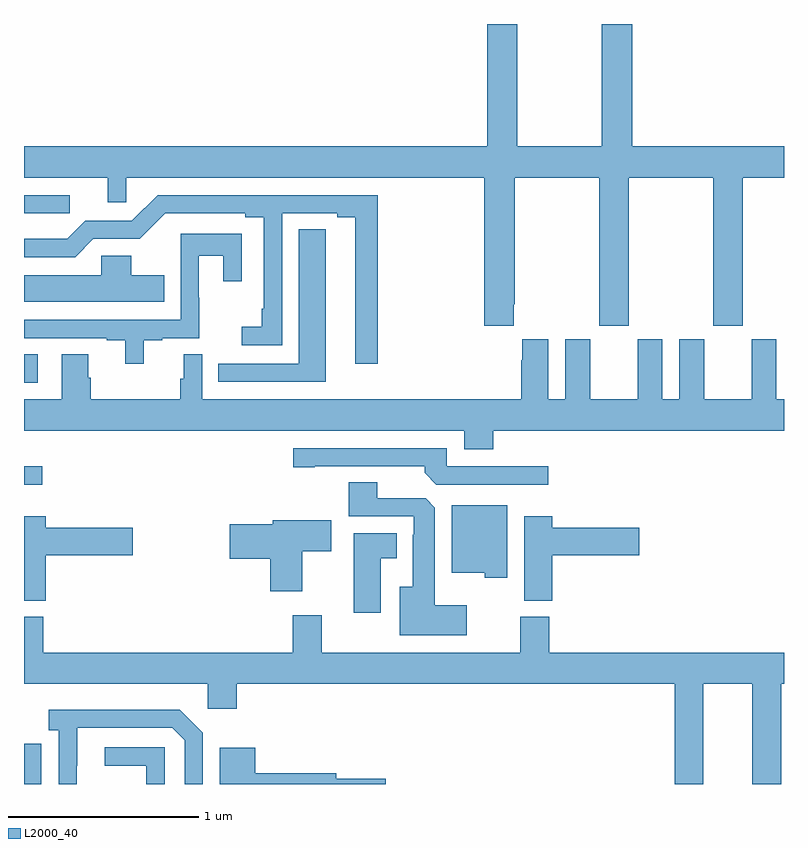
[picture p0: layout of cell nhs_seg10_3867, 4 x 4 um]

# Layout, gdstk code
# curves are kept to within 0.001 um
import gdstk
lib = gdstk.Library(unit=1e-6, precision=1e-09)
def R(c, l, rs):  # rectangles x0, y0, x1, y1
    for r in rs: c.add(gdstk.rectangle(r[:2], r[2:], *l))
def P(c, l, *ps):  # polygons
    for p in ps: c.add(gdstk.Polygon(p, *l))
L2000_40 = (2000, 40)

nhs_seg10_3867 = lib.new_cell('nhs_seg10_3867')
R(nhs_seg10_3867, L2000_40, [(325,1256.076,325.096,1256.172), (325,1256.613,325.072,1256.762)])
P(nhs_seg10_3867, L2000_40, [(327.437,1257.856),(325,1257.856),(325,1257.692),(325.442,1257.692),(325.442,1257.561),(325.538,1257.561),(325.538,1257.692),(327.422,1257.692),(327.422,1256.913),(327.577,1256.913),(327.577,1257.025),(327.582,1257.025),(327.582,1257.692),(328.027,1257.692),(328.027,1256.913),(328.182,1256.913),(328.182,1257.692),(328.627,1257.692),(328.627,1256.913),(328.782,1256.913),(328.782,1257.692),(329,1257.692),(329,1257.856),(328.202,1257.856),(328.202,1258.5),(328.042,1258.5),(328.042,1257.856),(327.597,1257.856),(327.597,1258.5),(327.437,1258.5)],
  [(325.127,1257.505),(325.24,1257.505),(325.24,1257.6),(325,1257.6),(325,1257.503),(325.127,1257.503)],
  [(326.861,1257.6),(325.703,1257.6),(325.568,1257.465),(325.323,1257.465),(325.228,1257.37),(325,1257.37),(325,1257.273),(325.269,1257.273),(325.365,1257.369),(325.609,1257.369),(325.744,1257.504),(326.165,1257.504),(326.165,1257.484),(326.262,1257.484),(326.262,1257.001),(326.25,1257.001),(326.25,1256.907),(326.145,1256.907),(326.145,1256.808),(326.358,1256.808),(326.358,1257.504),(326.648,1257.504),(326.648,1257.484),(326.744,1257.484),(326.744,1256.712),(326.861,1256.712)],
  [(326.587,1257.419),(326.447,1257.419),(326.447,1256.712),(326.023,1256.712),(326.023,1256.616),(326.587,1256.616)],
  [(325.631,1256.835),(325.727,1256.835),(325.727,1256.847),(325.923,1256.847),(325.923,1257.059),(325.92,1257.059),(325.92,1257.28),(326.049,1257.28),(326.049,1257.147),(326.145,1257.147),(326.145,1257.396),(325.824,1257.396),(325.824,1256.943),(325,1256.943),(325,1256.847),(325.436,1256.847),(325.436,1256.835),(325.532,1256.835),(325.532,1256.712),(325.631,1256.712)],
  [(325.739,1257.178),(325.564,1257.178),(325.564,1257.279),(325.407,1257.279),(325.407,1257.178),(325,1257.178),(325,1257.038),(325.739,1257.038)],
  [(329,1256.524),(328.96,1256.524),(328.96,1256.842),(328.829,1256.842),(328.829,1256.524),(328.579,1256.524),(328.579,1256.842),(328.448,1256.842),(328.448,1256.524),(328.36,1256.524),(328.36,1256.842),(328.229,1256.842),(328.229,1256.524),(327.979,1256.524),(327.979,1256.842),(327.848,1256.842),(327.848,1256.524),(327.76,1256.524),(327.76,1256.842),(327.623,1256.842),(327.623,1256.729),(327.617,1256.729),(327.617,1256.524),(325.938,1256.524),(325.938,1256.761),(325.841,1256.761),(325.841,1256.634),(325.822,1256.634),(325.822,1256.524),(325.352,1256.524),(325.352,1256.637),(325.339,1256.637),(325.339,1256.762),(325.199,1256.762),(325.199,1256.524),(325,1256.524),(325,1256.36),(327.317,1256.36),(327.317,1256.261),(327.47,1256.261),(327.47,1256.36),(329,1256.36)],
  [(327.76,1256.172),(327.225,1256.172),(327.225,1256.268),(326.418,1256.268),(326.418,1256.167),(326.53,1256.167),(326.53,1256.172),(327.11,1256.172),(327.11,1256.138),(327.171,1256.076),(327.76,1256.076)],
  [(327.331,1255.441),(327.163,1255.441),(327.163,1255.955),(327.114,1256.004),(326.86,1256.004),(326.86,1256.087),(326.708,1256.087),(326.708,1255.908),(327.051,1255.908),(327.051,1255.811),(327.047,1255.811),(327.047,1255.537),(326.978,1255.537),(326.978,1255.283),(327.331,1255.283)],
  [(327.544,1255.966),(327.251,1255.966),(327.251,1255.613),(327.426,1255.613),(327.426,1255.586),(327.544,1255.586)],
  [(327.779,1255.703),(328.237,1255.703),(328.237,1255.85),(327.779,1255.85),(327.779,1255.909),(327.632,1255.909),(327.632,1255.465),(327.779,1255.465)],
  [(325.115,1255.703),(325.573,1255.703),(325.573,1255.85),(325.115,1255.85),(325.115,1255.909),(325,1255.909),(325,1255.465),(325.115,1255.465)],
  [(326.464,1255.726),(326.617,1255.726),(326.617,1255.888),(326.309,1255.888),(326.309,1255.868),(326.082,1255.868),(326.082,1255.685),(326.297,1255.685),(326.297,1255.515),(326.464,1255.515)],
  [(326.878,1255.688),(326.962,1255.688),(326.962,1255.819),(326.735,1255.819),(326.735,1255.401),(326.878,1255.401)],
  [(328.576,1255.028),(328.832,1255.028),(328.832,1254.5),(328.985,1254.5),(328.985,1255.028),(329,1255.028),(329,1255.192),(327.764,1255.192),(327.764,1255.38),(327.611,1255.38),(327.611,1255.192),(326.566,1255.192),(326.566,1255.387),(326.414,1255.387),(326.414,1255.192),(325.1,1255.192),(325.1,1255.38),(325,1255.38),(325,1255.028),(325.968,1255.028),(325.968,1254.897),(326.12,1254.897),(326.12,1255.028),(328.424,1255.028),(328.424,1254.5),(328.576,1254.5)],
  [(325.278,1254.595),(325.279,1254.795),(325.779,1254.795),(325.845,1254.729),(325.845,1254.5),(325.941,1254.5),(325.941,1254.771),(325.82,1254.892),(325.131,1254.892),(325.131,1254.782),(325.182,1254.782),(325.182,1254.5),(325.278,1254.5)],
  [(325.092,1254.602),(325.091,1254.602),(325.091,1254.711),(325,1254.711),(325,1254.5),(325.092,1254.5)],
  [(325.74,1254.693),(325.425,1254.693),(325.425,1254.597),(325.644,1254.597),(325.644,1254.5),(325.74,1254.5)],
  [(326.905,1254.527),(326.644,1254.527),(326.644,1254.556),(326.218,1254.556),(326.218,1254.691),(326.03,1254.691),(326.03,1254.5),(326.905,1254.5)])

lib.write_gds('nhs_seg10_3867.gds')
